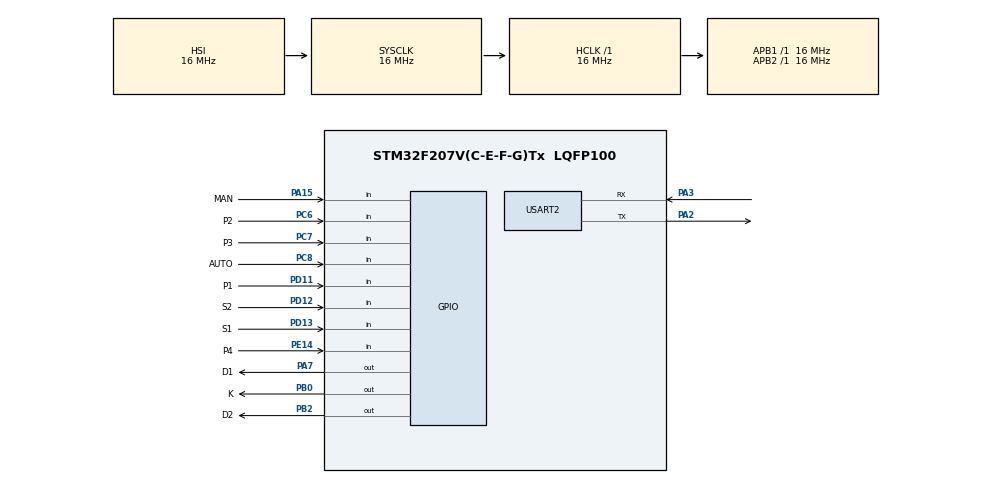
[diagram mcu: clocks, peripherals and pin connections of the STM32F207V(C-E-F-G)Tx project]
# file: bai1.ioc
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Mcu.Family=STM32F2
Mcu.Name=STM32F207V(C-E-F-G)Tx
Mcu.Package=LQFP100
NVIC.PriorityGroup=NVIC_PRIORITYGROUP_4
NVIC.TIM1_UP_TIM10_IRQn=true\:0\:0\:false\:false\:true\:true\:true\:true
NVIC.USART2_IRQn=true\:0\:0\:false\:false\:true\:true\:true\:true
PA13.Mode=Serial_Wire
PA13.Signal=SYS_JTMS-SWDIO
PA14.Mode=Serial_Wire
PA14.Signal=SYS_JTCK-SWCLK
PA15.GPIO_Label=MAN
PA15.Signal=GPIO_Input
PA2.Mode=Asynchronous
PA2.Signal=USART2_TX
PA3.Mode=Asynchronous
PA3.Signal=USART2_RX
PA7.GPIO_Label=D1
PA7.Signal=GPIO_Output
PB0.GPIO_Label=K
PB0.Signal=GPIO_Output
PB2.GPIO_Label=D2
PB2.Signal=GPIO_Output
PC6.GPIO_Label=P2
PC6.Signal=GPIO_Input
PC7.GPIO_Label=P3
PC7.Signal=GPIO_Input
PC8.GPIO_Label=AUTO
PC8.Signal=GPIO_Input
PD11.GPIO_Label=P1
PD11.Signal=GPIO_Input
PD12.GPIO_Label=S2
PD12.Signal=GPIO_Input
PD13.GPIO_Label=S1
PD13.Signal=GPIO_Input
PE14.GPIO_Label=P4
PE14.Signal=GPIO_Input
ProjectManager.HeapSize=0x200
ProjectManager.StackSize=0x400
ProjectManager.TargetToolchain=MDK-ARM V5.32
RCC.48MHZClocksFreq_Value=48000000
RCC.AHBFreq_Value=16000000
RCC.APB1Freq_Value=16000000
RCC.APB2Freq_Value=16000000
RCC.CortexFreq_Value=16000000
RCC.HSE_VALUE=25000000
RCC.HSI_VALUE=16000000
RCC.LSE_VALUE=32768
RCC.SYSCLKFreq_VALUE=16000000
RCC.VCOOutputFreq_Value=192000000
TIM1.Period=249
TIM1.Prescaler=7999
USART2.VirtualMode=VM_ASYNC
VP_TIM1_VS_ClockSourceINT.Mode=Internal
board=custom

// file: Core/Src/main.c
/* USER CODE BEGIN Header */
/**
  ******************************************************************************
  * @file           : main.c
  * @brief          : Main program body
  ******************************************************************************
  * @attention
  *
  * Copyright (c) 2024 STMicroelectronics.
  * All rights reserved.
  *
  * This software is licensed under terms that can be found in the LICENSE file
  * in the root directory of this software component.
  * If no LICENSE file comes with this software, it is provided AS-IS.
  *
  ******************************************************************************
  */
/* USER CODE END Header */
#include "main.h"

/* USER CODE BEGIN Includes */
#include <stdio.h>
#include <stdlib.h>
#include <string.h>
/* USER CODE END Includes */

/* USER CODE BEGIN PD */
#define BUTTON_PRESSED 0  //nhan nut, tin hieu doc vao la 0.
/* USER CODE END PD */

TIM_HandleTypeDef htim1;

UART_HandleTypeDef huart2;

/* USER CODE BEGIN PV */
uint8_t P1;
uint8_t P2;
uint8_t P3;
uint8_t P4;
uint8_t MAN;
uint8_t AUTO;
uint8_t S1;
uint8_t S2;

// bien uart
uint8_t rx_data;
uint8_t index_rx=0;
uint8_t rx_buffer[4];

// bien timer
uint16_t count;
uint16_t ms =0;

//bien giu start
uint8_t start=0;
/* USER CODE END PV */

void SystemClock_Config(void);
static void MX_GPIO_Init(void);
static void MX_TIM1_Init(void);
static void MX_USART2_UART_Init(void);

/* USER CODE BEGIN 0 */

uint16_t docSoTuMang(uint8_t mang[], int doDai) {
    uint16_t ms = 0; // Khai báo bi?n s? nguyên c?c b? và kh?i t?o b?ng 0
    for (int i = 0; i < doDai; i++) {
        if (mang[i] >= '0' && mang[i] <= '9') { // Ki?m tra ký t? có ph?i là s? không
            ms = ms * 10 + (mang[i] - '0'); // Chuy?n d?i ký t? thành s? nguyên và c?ng vào bi?n s? nguyên
        }
    }
    return ms; // Tr? v? giá tr? s? nguyên
}

//Ham truyen du lieu
void HAL_UART_RxCpltCallback(UART_HandleTypeDef *huart) {
    if (huart->Instance == USART2) {
        if (rx_data == '\n') {
            HAL_UART_Transmit(&huart2, (uint8_t *)rx_buffer, index_rx, 100); // gui du lieu da nhan
            memset(rx_buffer, 0, sizeof(rx_buffer)); // xoa du lieu trong mang rx_buffer
            index_rx = 0; // dat lai index_rx chuan bi cho du lieu tiep theo

        } else {
            rx_buffer[index_rx++] = rx_data; // luu ky tu vao mang rx_bufer
						HAL_TIM_Base_Start_IT(&htim1);// bat timer
						uint32_t current_count = htim1.Instance->CNT;
						ms= docSoTuMang(rx_buffer, sizeof(rx_buffer));// ms tra ve 1250.
            // Kiem tra xem mang dã day chua
            if (index_rx >= sizeof(rx_buffer)) {
                // Neu da day, không làm gì cho xu lý tùy ý
            }
        }
        HAL_UART_Receive_IT(&huart2, &rx_data, 1); // Ti?p t?c nh?n d? li?u
    }
}

void HAL_TIM_PeriodElapsedCallback(TIM_HandleTypeDef *htim)
{
	HAL_GPIO_WritePin(K_GPIO_Port,K_Pin, GPIO_PIN_SET);
		HAL_TIM_Base_Stop_IT(&htim1);
}
/* USER CODE END 0 */

int main(void)
{

  /* MCU Configuration--------------------------------------------------------*/

  /* Reset of all peripherals, Initializes the Flash interface and the Systick. */
  HAL_Init();

  /* Configure the system clock */
  SystemClock_Config();

  /* Initialize all configured peripherals */
  MX_GPIO_Init();
  MX_TIM1_Init();
  MX_USART2_UART_Init();
  /* USER CODE BEGIN 2 */
	// Ham goi uart
	HAL_UART_Receive_IT(&huart2, &rx_data, 1);

	// Ham Set ban dau
	HAL_GPIO_WritePin(K_GPIO_Port,K_Pin, GPIO_PIN_SET);
	HAL_GPIO_WritePin(D2_GPIO_Port,D2_Pin, GPIO_PIN_SET);
	HAL_GPIO_WritePin(D1_GPIO_Port,D1_Pin, GPIO_PIN_SET);
  /* USER CODE END 2 */

  /* Infinite loop */
  while (1)
  {

    /* USER CODE BEGIN 3 */
		// 1 tac dong trong 1 truong hop.
		P1 = HAL_GPIO_ReadPin(P1_GPIO_Port,P1_Pin); //P1 tra ve 2 gia tri 0 or 1, neu =0 nghia la nut da duoc nhan.
		P2 = HAL_GPIO_ReadPin(P2_GPIO_Port,P2_Pin);
		P3 = HAL_GPIO_ReadPin(P3_GPIO_Port,P3_Pin);
		P4 = HAL_GPIO_ReadPin(P4_GPIO_Port,P4_Pin);
		MAN = HAL_GPIO_ReadPin(MAN_GPIO_Port,MAN_Pin);
		AUTO = HAL_GPIO_ReadPin(AUTO_GPIO_Port,AUTO_Pin);
		S1 = HAL_GPIO_ReadPin(S1_GPIO_Port,S1_Pin); // Khi co vat S1 tra ve 0 // co vat
		S2 = HAL_GPIO_ReadPin(S2_GPIO_Port,S2_Pin); // Khi co vat S2 tra ve 1 khi co vat, s1, s2 trai nguoc nhau, s1 tra ve gi, thi s2 tra ve nguoc lai
		HAL_StatusTypeDef status = HAL_UART_Receive_IT(&huart2, &rx_data, 1);
		if ((P1==0)&&((MAN==0)))
		{
			start=1;
			HAL_GPIO_WritePin(K_GPIO_Port,K_Pin, GPIO_PIN_RESET);
			HAL_GPIO_WritePin(D1_GPIO_Port,D1_Pin, GPIO_PIN_RESET);
		}
		if ((P1==0)&&((AUTO==0)))
		{
			start=1;
		}
		if ((P2==0)&&((MAN==0)|(AUTO==0)))
		{
			HAL_GPIO_WritePin(K_GPIO_Port,K_Pin, GPIO_PIN_SET);
			HAL_GPIO_WritePin(D2_GPIO_Port,D2_Pin, GPIO_PIN_RESET);
			HAL_GPIO_WritePin(D1_GPIO_Port,D1_Pin, GPIO_PIN_SET);
			start=0;
		}
		if ((S1==1)&&(AUTO==0)&&(start==1))
		{
			HAL_GPIO_WritePin(K_GPIO_Port,K_Pin, GPIO_PIN_RESET);
			HAL_GPIO_WritePin(D1_GPIO_Port,D1_Pin, GPIO_PIN_RESET);
		}
		if ((S2==1)&& (AUTO==0))
		{
			HAL_GPIO_WritePin(K_GPIO_Port,K_Pin, GPIO_PIN_SET);
			HAL_GPIO_WritePin(D2_GPIO_Port,D2_Pin, GPIO_PIN_RESET);
			HAL_GPIO_WritePin(D1_GPIO_Port,D1_Pin, GPIO_PIN_SET);
		}

  }
  /* USER CODE END 3 */
}

void SystemClock_Config(void)
{
  RCC_OscInitTypeDef RCC_OscInitStruct = {0};
  RCC_ClkInitTypeDef RCC_ClkInitStruct = {0};

  /** Initializes the RCC Oscillators according to the specified parameters
  * in the RCC_OscInitTypeDef structure.
  */
  RCC_OscInitStruct.OscillatorType = RCC_OSCILLATORTYPE_HSI;
  RCC_OscInitStruct.HSIState = RCC_HSI_ON;
  RCC_OscInitStruct.HSICalibrationValue = RCC_HSICALIBRATION_DEFAULT;
  RCC_OscInitStruct.PLL.PLLState = RCC_PLL_NONE;
  if (HAL_RCC_OscConfig(&RCC_OscInitStruct) != HAL_OK)
  {
    Error_Handler();
  }

  /** Initializes the CPU, AHB and APB buses clocks
  */
  RCC_ClkInitStruct.ClockType = RCC_CLOCKTYPE_HCLK|RCC_CLOCKTYPE_SYSCLK
                              |RCC_CLOCKTYPE_PCLK1|RCC_CLOCKTYPE_PCLK2;
  RCC_ClkInitStruct.SYSCLKSource = RCC_SYSCLKSOURCE_HSI;
  RCC_ClkInitStruct.AHBCLKDivider = RCC_SYSCLK_DIV1;
  RCC_ClkInitStruct.APB1CLKDivider = RCC_HCLK_DIV1;
  RCC_ClkInitStruct.APB2CLKDivider = RCC_HCLK_DIV1;

  if (HAL_RCC_ClockConfig(&RCC_ClkInitStruct, FLASH_LATENCY_0) != HAL_OK)
  {
    Error_Handler();
  }
}

static void MX_TIM1_Init(void)
{

  TIM_ClockConfigTypeDef sClockSourceConfig = {0};
  TIM_MasterConfigTypeDef sMasterConfig = {0};

  htim1.Instance = TIM1;
  htim1.Init.Prescaler = 305174;
  htim1.Init.CounterMode = TIM_COUNTERMODE_UP;
  htim1.Init.Period = 65535;
  htim1.Init.ClockDivision = TIM_CLOCKDIVISION_DIV1;
  htim1.Init.RepetitionCounter = 0;
  htim1.Init.AutoReloadPreload = TIM_AUTORELOAD_PRELOAD_DISABLE;
  if (HAL_TIM_Base_Init(&htim1) != HAL_OK)
  {
    Error_Handler();
  }
  sClockSourceConfig.ClockSource = TIM_CLOCKSOURCE_INTERNAL;
  if (HAL_TIM_ConfigClockSource(&htim1, &sClockSourceConfig) != HAL_OK)
  {
    Error_Handler();
  }
  sMasterConfig.MasterOutputTrigger = TIM_TRGO_RESET;
  sMasterConfig.MasterSlaveMode = TIM_MASTERSLAVEMODE_DISABLE;
  if (HAL_TIMEx_MasterConfigSynchronization(&htim1, &sMasterConfig) != HAL_OK)
  {
    Error_Handler();
  }

}

static void MX_USART2_UART_Init(void)
{

  huart2.Instance = USART2;
  huart2.Init.BaudRate = 115200;
  huart2.Init.WordLength = UART_WORDLENGTH_8B;
  huart2.Init.StopBits = UART_STOPBITS_1;
  huart2.Init.Parity = UART_PARITY_NONE;
  huart2.Init.Mode = UART_MODE_TX_RX;
  huart2.Init.HwFlowCtl = UART_HWCONTROL_NONE;
  huart2.Init.OverSampling = UART_OVERSAMPLING_16;
  if (HAL_UART_Init(&huart2) != HAL_OK)
  {
    Error_Handler();
  }

}

static void MX_GPIO_Init(void)
{
  GPIO_InitTypeDef GPIO_InitStruct = {0};

  /* GPIO Ports Clock Enable */
  __HAL_RCC_GPIOA_CLK_ENABLE();
  __HAL_RCC_GPIOB_CLK_ENABLE();
  __HAL_RCC_GPIOE_CLK_ENABLE();
  __HAL_RCC_GPIOD_CLK_ENABLE();
  __HAL_RCC_GPIOC_CLK_ENABLE();

  /*Configure GPIO pin Output Level */
  HAL_GPIO_WritePin(D1_GPIO_Port, D1_Pin, GPIO_PIN_RESET);

  /*Configure GPIO pin Output Level */
  HAL_GPIO_WritePin(GPIOB, K_Pin|D2_Pin, GPIO_PIN_RESET);

  /*Configure GPIO pin : D1_Pin */
  GPIO_InitStruct.Pin = D1_Pin;
  GPIO_InitStruct.Mode = GPIO_MODE_OUTPUT_PP;
  GPIO_InitStruct.Pull = GPIO_NOPULL;
  GPIO_InitStruct.Speed = GPIO_SPEED_FREQ_LOW;
  HAL_GPIO_Init(D1_GPIO_Port, &GPIO_InitStruct);

  /*Configure GPIO pins : K_Pin D2_Pin */
  GPIO_InitStruct.Pin = K_Pin|D2_Pin;
  GPIO_InitStruct.Mode = GPIO_MODE_OUTPUT_PP;
  GPIO_InitStruct.Pull = GPIO_NOPULL;
  GPIO_InitStruct.Speed = GPIO_SPEED_FREQ_LOW;
  HAL_GPIO_Init(GPIOB, &GPIO_InitStruct);

  /*Configure GPIO pin : P4_Pin */
  GPIO_InitStruct.Pin = P4_Pin;
  GPIO_InitStruct.Mode = GPIO_MODE_INPUT;
  GPIO_InitStruct.Pull = GPIO_NOPULL;
  HAL_GPIO_Init(P4_GPIO_Port, &GPIO_InitStruct);

  /*Configure GPIO pins : P1_Pin S2_Pin S1_Pin */
  GPIO_InitStruct.Pin = P1_Pin|S2_Pin|S1_Pin;
  GPIO_InitStruct.Mode = GPIO_MODE_INPUT;
  GPIO_InitStruct.Pull = GPIO_NOPULL;
  HAL_GPIO_Init(GPIOD, &GPIO_InitStruct);

  /*Configure GPIO pins : P2_Pin P3_Pin AUTO_Pin */
  GPIO_InitStruct.Pin = P2_Pin|P3_Pin|AUTO_Pin;
  GPIO_InitStruct.Mode = GPIO_MODE_INPUT;
  GPIO_InitStruct.Pull = GPIO_NOPULL;
  HAL_GPIO_Init(GPIOC, &GPIO_InitStruct);

  /*Configure GPIO pin : MAN_Pin */
  GPIO_InitStruct.Pin = MAN_Pin;
  GPIO_InitStruct.Mode = GPIO_MODE_INPUT;
  GPIO_InitStruct.Pull = GPIO_NOPULL;
  HAL_GPIO_Init(MAN_GPIO_Port, &GPIO_InitStruct);

}

void Error_Handler(void)
{
  __disable_irq();
  while (1)
  {
  }
}
